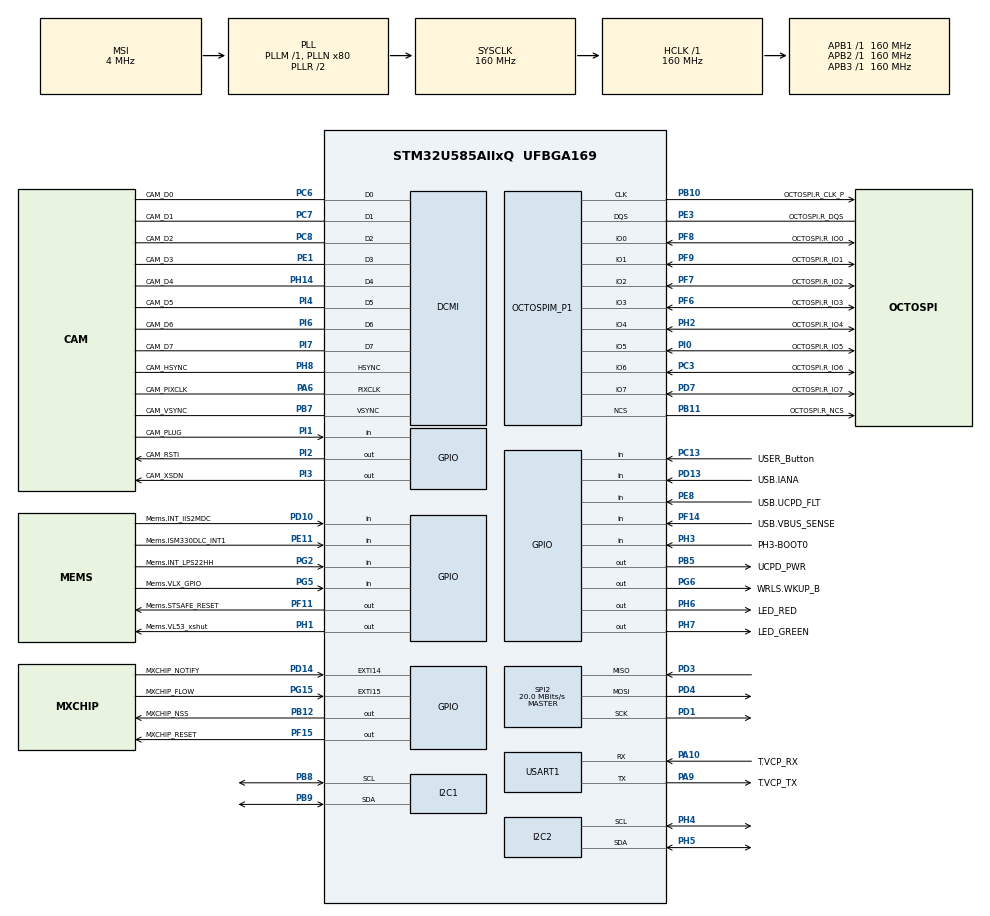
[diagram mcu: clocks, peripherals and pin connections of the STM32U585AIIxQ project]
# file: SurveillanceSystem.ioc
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CORTEX_M33_NS.userName=CORTEX_M33
DCMI.CaptureRate=DCMI_CR_ALL_FRAME
DCMI.HSPolarity=DCMI_HSPOLARITY_HIGH
DCMI.JPEGMode=DCMI_JPEG_DISABLE
DCMI.PCKPolarity=DCMI_PCKPOLARITY_RISING
DCMI.VSPolarity=DCMI_VSPOLARITY_HIGH
GPDMA1.ChannelPRIV_GPDMACH12=DMA_CHANNEL_PRIV
GPDMA1.ChannelPRIV_GPDMACH6=DMA_CHANNEL_PRIV
GPDMA1.ChannelPRIV_GPDMACH7=DMA_CHANNEL_PRIV
GPDMA1.LINKALLOCATEDPORT_GPDMACH12=DMA_LINK_ALLOCATED_PORT1
GPDMA1.LINKALLOCATEDPORT_GPDMACH6=DMA_LINK_ALLOCATED_PORT1
GPDMA1.LINKALLOCATEDPORT_GPDMACH7=DMA_LINK_ALLOCATED_PORT1
GPDMA1.LINKEDLISTMODE_GPDMACH12=DMA_LINKEDLIST_CIRCULAR
GPDMA1.PRIORITY_LL_GPDMACH6=DMA_LOW_PRIORITY_HIGH_WEIGHT
GPDMA1.PRIORITY_LL_GPDMACH7=DMA_LOW_PRIORITY_HIGH_WEIGHT
I2C1.Timing=0x30909DEC
I2C2.Timing=0x30909DEC
Linkedlist.MDMA_Channel0.GP_SW.0.ADDRESSING2D=DISABLE
Linkedlist.MDMA_Channel0.GP_SW.0.BlkHWRequest=DMA_BREQ_SINGLE_BURST
Linkedlist.MDMA_Channel0.GP_SW.0.DataHandling=NONE
Linkedlist.MDMA_Channel0.GP_SW.0.DataSize=0
Linkedlist.MDMA_Channel0.GP_SW.0.DestBurstLength=1
Linkedlist.MDMA_Channel0.GP_SW.0.DestDataWidth=DMA_DEST_DATAWIDTH_WORD
Linkedlist.MDMA_Channel0.GP_SW.0.DestInc=DMA_DINC_INCREMENTED
Linkedlist.MDMA_Channel0.GP_SW.0.Direction=DMA_PERIPH_TO_MEMORY
Linkedlist.MDMA_Channel0.GP_SW.0.DstAddress=0
Linkedlist.MDMA_Channel0.GP_SW.0.Instance=MDMA_Channel0
Linkedlist.MDMA_Channel0.GP_SW.0.LL_CIRCULARNODE=DCMItoMemory
Linkedlist.MDMA_Channel0.GP_SW.0.LL_MASTERDMA=GPDMA2D
Linkedlist.MDMA_Channel0.GP_SW.0.LL_NAME=ProjectDMAQueue
Linkedlist.MDMA_Channel0.GP_SW.0.LL_TYPE=CIRCULAR
Linkedlist.MDMA_Channel0.GP_SW.0.NODE_NAME=DCMItoMemory
Linkedlist.MDMA_Channel0.GP_SW.0.Requestforcodegen=GPDMA1_REQUEST_DCMI
Linkedlist.MDMA_Channel0.GP_SW.0.SrcAddress=0
Linkedlist.MDMA_Channel0.GP_SW.0.SrcBurstLength=1
Linkedlist.MDMA_Channel0.GP_SW.0.SrcDataWidth=DMA_SRC_DATAWIDTH_WORD
Linkedlist.MDMA_Channel0.GP_SW.0.SrcInc=DMA_SINC_FIXED
Linkedlist.MDMA_Channel0.GP_SW.0.TransferAllocatedPortSrc=DMA_SRC_ALLOCATED_PORT0
Linkedlist.MDMA_Channel0.GP_SW.0.TransferEventMode=DMA_TCEM_BLOCK_TRANSFER
Linkedlist.MDMA_Channel0.GP_SW.0.TriggerPolarity=DMA_TRIG_POLARITY_MASKED
Linkedlist.MDMA_Channel0.Request0=GP_SW
Linkedlist.MDMA_Channel0.RequestsNb=1
Linkedlist.MDMA_Channel1.GP_SW.0.BlkHWRequest=DMA_BREQ_SINGLE_BURST
Linkedlist.MDMA_Channel1.GP_SW.0.DataAlignment=DMA_DATA_RIGHTALIGN_ZEROPADDED
Linkedlist.MDMA_Channel1.GP_SW.0.DataExchange=DMA_EXCHANGE_NONE
Linkedlist.MDMA_Channel1.GP_SW.0.DataHandling=ENABLE
Linkedlist.MDMA_Channel1.GP_SW.0.DataSize=0
Linkedlist.MDMA_Channel1.GP_SW.0.DestBurstLength=1
Linkedlist.MDMA_Channel1.GP_SW.0.DestDataWidth=DMA_DEST_DATAWIDTH_BYTE
Linkedlist.MDMA_Channel1.GP_SW.0.DestInc=DMA_DINC_INCREMENTED
Linkedlist.MDMA_Channel1.GP_SW.0.Direction=DMA_PERIPH_TO_MEMORY
Linkedlist.MDMA_Channel1.GP_SW.0.DstAddress=0
Linkedlist.MDMA_Channel1.GP_SW.0.Instance=MDMA_Channel1
Linkedlist.MDMA_Channel1.GP_SW.0.LL_MASTERDMA=GPDMA
Linkedlist.MDMA_Channel1.GP_SW.0.LL_NAME=SPI_Rx_Queue
Linkedlist.MDMA_Channel1.GP_SW.0.LL_TYPE=LINEAR
Linkedlist.MDMA_Channel1.GP_SW.0.NODE_NAME=SPI_Rx_Node
Linkedlist.MDMA_Channel1.GP_SW.0.Requestforcodegen=GPDMA1_REQUEST_SPI2_RX
Linkedlist.MDMA_Channel1.GP_SW.0.SrcAddress=0
Linkedlist.MDMA_Channel1.GP_SW.0.SrcBurstLength=1
Linkedlist.MDMA_Channel1.GP_SW.0.SrcDataWidth=DMA_SRC_DATAWIDTH_BYTE
Linkedlist.MDMA_Channel1.GP_SW.0.SrcInc=DMA_SINC_FIXED
Linkedlist.MDMA_Channel1.GP_SW.0.TransferAllocatedPortSrc=DMA_SRC_ALLOCATED_PORT0
Linkedlist.MDMA_Channel1.GP_SW.0.TransferEventMode=DMA_TCEM_BLOCK_TRANSFER
Linkedlist.MDMA_Channel1.GP_SW.0.TriggerPolarity=DMA_TRIG_POLARITY_MASKED
Linkedlist.MDMA_Channel1.Request0=GP_SW
Linkedlist.MDMA_Channel1.RequestsNb=1
Linkedlist.MDMA_Channel2.GP_SW.0.BlkHWRequest=DMA_BREQ_SINGLE_BURST
Linkedlist.MDMA_Channel2.GP_SW.0.DataAlignment=DMA_DATA_RIGHTALIGN_ZEROPADDED
Linkedlist.MDMA_Channel2.GP_SW.0.DataExchange=DMA_EXCHANGE_NONE
Linkedlist.MDMA_Channel2.GP_SW.0.DataHandling=ENABLE
Linkedlist.MDMA_Channel2.GP_SW.0.DataSize=0
Linkedlist.MDMA_Channel2.GP_SW.0.DestBurstLength=1
Linkedlist.MDMA_Channel2.GP_SW.0.DestDataWidth=DMA_DEST_DATAWIDTH_BYTE
Linkedlist.MDMA_Channel2.GP_SW.0.DestInc=DMA_DINC_FIXED
Linkedlist.MDMA_Channel2.GP_SW.0.Direction=DMA_MEMORY_TO_PERIPH
Linkedlist.MDMA_Channel2.GP_SW.0.DstAddress=0
Linkedlist.MDMA_Channel2.GP_SW.0.Instance=MDMA_Channel2
Linkedlist.MDMA_Channel2.GP_SW.0.LL_MASTERDMA=GPDMA
Linkedlist.MDMA_Channel2.GP_SW.0.LL_NAME=SPI_Tx_Queue
Linkedlist.MDMA_Channel2.GP_SW.0.LL_TYPE=LINEAR
Linkedlist.MDMA_Channel2.GP_SW.0.NODE_NAME=SPI_Tx_Node
Linkedlist.MDMA_Channel2.GP_SW.0.Requestforcodegen=GPDMA1_REQUEST_SPI2_TX
Linkedlist.MDMA_Channel2.GP_SW.0.SrcAddress=0
Linkedlist.MDMA_Channel2.GP_SW.0.SrcBurstLength=1
Linkedlist.MDMA_Channel2.GP_SW.0.SrcDataWidth=DMA_SRC_DATAWIDTH_BYTE
Linkedlist.MDMA_Channel2.GP_SW.0.SrcInc=DMA_SINC_INCREMENTED
Linkedlist.MDMA_Channel2.GP_SW.0.TransferAllocatedPortSrc=DMA_SRC_ALLOCATED_PORT1
Linkedlist.MDMA_Channel2.GP_SW.0.TransferEventMode=DMA_TCEM_BLOCK_TRANSFER
Linkedlist.MDMA_Channel2.GP_SW.0.TriggerPolarity=DMA_TRIG_POLARITY_MASKED
Linkedlist.MDMA_Channel2.Request0=GP_SW
Linkedlist.MDMA_Channel2.RequestsNb=1
Linkedlist.RequestSet0=MDMA_Channel0
Linkedlist.RequestSet1=MDMA_Channel1
Linkedlist.RequestSet2=MDMA_Channel2
Linkedlist.RequestSetsNb=3
Mcu.Family=STM32U5
Mcu.Name=STM32U585AIIxQ
Mcu.Package=UFBGA169
Mcu.UserConstants=PRES_THREAD_STACK_SIZE,1024;SNTP_STACK_SIZE,(6 * 1024);CAPFRAME_THREAD_STACK_SIZE,1024;LED_STACK_SIZE,1024;TOTAL_APP_STACK_SIZE,TIMEBASE_STACK_SIZE + LED_STACK_SIZE*2 + TEMP_THREAD_STACK_SIZE + HUM_THREAD_STACK_SIZE + MAG_THREAD_STACK_SIZE + LIGHT_THREAD_STACK_SIZE + PRES_THREAD_STACK_SIZE + MOT_THREAD_STACK_SIZE + CAPFRAME_THREAD_STACK_SIZE + SENDFRAME_THREAD_STACK_SIZE + SNTP_STACK_SIZE + MQTT_STACK_SIZE + QUEUE_STACK_SIZE;TIMEBASE_STACK_SIZE,1024;LIGHT_THREAD_STACK_SIZE,1024;MAG_THREAD_STACK_SIZE,1024;MOT_THREAD_STACK_SIZE,1024;MQTT_STACK_SIZE,(4 * 1024);MQTT_CLIENT_STACK_SIZE,(1024 * 10);HUM_THREAD_STACK_SIZE,1024;MXCHIP_SPI,hspi2;SENDFRAME_THREAD_STACK_SIZE,1024;TEMP_THREAD_STACK_SIZE,1024;QUEUE_STACK_SIZE,1024
NETXDUO.NXD_MQTT_REQUIRE_TLS=true
NETXDUO.NX_APP_MEM_POOL_SIZE=1024*100
NETXDUO.NX_DISABLE_ERROR_CHECKING=false
NETXDUO.NX_DRIVER_DEFERRED_PROCESSING=true
NETXDUO.NX_PHYSICAL_HEADER=44
NETXDUO.NX_PHYSICAL_TRAILER=4
NETXDUO.NX_SECURE_ENABLE=true
NETXDUO.NX_SECURE_ENABLE_ECC_CIPHERSUITE=true
NETXDUO.NX_SNTP_CLIENT_MAX_ROOT_DISPERSION=500000
NETXDUO.NX_SNTP_CLIENT_MIN_SERVER_STRATUM=5
NVIC.DCACHE1_IRQn=true\:6\:0\:true\:false\:true\:false\:true\:true\:true
NVIC.DCMI_PSSI_IRQn=true\:12\:0\:true\:false\:true\:false\:true\:true\:true
NVIC.EXTI14_IRQn=true\:10\:0\:true\:false\:true\:false\:true\:true\:true
NVIC.EXTI15_IRQn=true\:10\:0\:true\:false\:true\:false\:true\:true\:true
NVIC.GPDMA1_Channel12_IRQn=true\:12\:0\:true\:false\:true\:false\:true\:true\:true
NVIC.GPDMA1_Channel6_IRQn=true\:9\:0\:true\:false\:true\:false\:true\:true\:true
NVIC.GPDMA1_Channel7_IRQn=true\:9\:0\:true\:false\:true\:false\:true\:true\:true
NVIC.PriorityGroup=NVIC_PRIORITYGROUP_4
NVIC.SPI2_IRQn=true\:8\:0\:true\:false\:true\:false\:true\:true\:true
NVIC.TIM6_IRQn=true\:7\:0\:true\:false\:true\:false\:false\:true\:true
NVIC.TIM7_IRQn=true\:8\:0\:true\:false\:true\:false\:true\:true\:true
NVIC.TimeBase=TIM6_IRQn
NVIC.TimeBaseIP=TIM6
OCTOSPI1.ChipSelectBoundary=10
OCTOSPI1.ChipSelectHighTime=2
OCTOSPI1.ClockPrescaler=2
OCTOSPI1.DelayBlockBypass=HAL_OSPI_DELAY_BLOCK_USED
OCTOSPI1.DelayHoldQuarterCycle=HAL_OSPI_DHQC_ENABLE
OCTOSPI1.DeviceSize=23
OCTOSPI1.MemoryType=HAL_OSPI_MEMTYPE_APMEMORY
OCTOSPI1.Refresh=320
PA10.GPIO_Label=T.VCP_RX
PA10.Mode=Asynchronous
PA10.Signal=USART1_RX
PA11.GPIO_Label=USB.C_P
PA11.Signal=USB_OTG_FS_DM
PA12.GPIO_Label=USB.C_P
PA12.Signal=USB_OTG_FS_DP
PA13\ (JTMS/SWDIO).GPIO_Label=T.SWDIO
PA13\ (JTMS/SWDIO).Signal=DEBUG_JTMS-SWDIO
PA14\ (JTCK/SWCLK).GPIO_Label=T.SWCLK
PA14\ (JTCK/SWCLK).Signal=DEBUG_JTCK-SWCLK
PA15\ (JTDI).GPIO_Label=USB.UCPD_CC1
PA15\ (JTDI).Signal=UCPD1_CC1
PA6.GPIO_Label=CAM_PIXCLK
PA6.GPIO_Speed=GPIO_SPEED_FREQ_VERY_HIGH
PA6.Mode=Slave_8_bits_External_Synchro
PA6.Signal=DCMI_PIXCLK
PA9.GPIO_Label=T.VCP_TX
PA9.Mode=Asynchronous
PA9.Signal=USART1_TX
PB1.GPIO_Label=MIC.SDIN0
PB1.Signal=MDF1_SDI0
PB10.GPIO_Label=OCTOSPI.R_CLK_P
PB10.Mode=O1_P1_CLK
PB10.Signal=OCTOSPIM_P1_CLK
PB11.GPIO_Label=OCTOSPI.R_NCS
PB11.Mode=OCTOSPI1_Port1_NCS
PB11.Signal=OCTOSPIM_P1_NCS
PB12.GPIO_Label=MXCHIP_NSS
PB12.GPIO_Speed=GPIO_SPEED_FREQ_HIGH
PB12.PinState=GPIO_PIN_SET
PB12.Signal=GPIO_Output
PB15.GPIO_Label=USB.UCPD_CC2
PB15.Signal=UCPD1_CC2
PB3\ (JTDO/TRACESWO).GPIO_Label=T.SWO
PB3\ (JTDO/TRACESWO).Signal=DEBUG_JTDO-SWO
PB5.GPIO_Label=UCPD_PWR
PB5.Signal=GPIO_Output
PB7.GPIO_Label=CAM_VSYNC
PB7.GPIO_Speed=GPIO_SPEED_FREQ_VERY_HIGH
PB7.Mode=Slave_8_bits_External_Synchro
PB7.Signal=DCMI_VSYNC
PB8.Mode=I2C
PB8.Signal=I2C1_SCL
PB9.Mode=I2C
PB9.Signal=I2C1_SDA
PC10.GPIO_Label=WRLS.UART4_TX
PC10.Signal=UART4_TX
PC11.GPIO_Label=WRLS.UART4_RX
PC11.Signal=UART4_RX
PC13.GPIO_Label=USER_Button
PC13.Signal=GPIO_Input
PC14-OSC32_IN\ (PC14).GPIO_Label=PC14-OSC32_IN
PC14-OSC32_IN\ (PC14).Signal=RCC_OSC32_IN
PC15-OSC32_OUT\ (PC15).GPIO_Label=PC15-OSC32_OUT
PC15-OSC32_OUT\ (PC15).Signal=RCC_OSC32_OUT
PC3.GPIO_Label=OCTOSPI.R_IO6
PC3.Mode=OCTOSPI1_IOH_Port1H
PC3.Signal=OCTOSPIM_P1_IO6
PC6.GPIO_Label=CAM_D0
PC6.GPIO_Speed=GPIO_SPEED_FREQ_VERY_HIGH
PC6.Mode=Slave_8_bits_External_Synchro
PC6.Signal=DCMI_D0
PC7.GPIO_Label=CAM_D1
PC7.GPIO_Speed=GPIO_SPEED_FREQ_VERY_HIGH
PC7.Mode=Slave_8_bits_External_Synchro
PC7.Signal=DCMI_D1
PC8.GPIO_Label=CAM_D2
PC8.GPIO_Speed=GPIO_SPEED_FREQ_VERY_HIGH
PC8.Mode=Slave_8_bits_External_Synchro
PC8.Signal=DCMI_D2
PD1.Mode=Full_Duplex_Master
PD1.Signal=SPI2_SCK
PD10.GPIO_Label=Mems.INT_IIS2MDC
PD10.Signal=GPIO_Input
PD13.GPIO_Label=USB.IANA
PD13.Signal=GPIO_Input
PD14.GPIO_Label=MXCHIP_NOTIFY
PD14.Signal=GPXTI14
PD3.Mode=Full_Duplex_Master
PD3.Signal=SPI2_MISO
PD4.Mode=Full_Duplex_Master
PD4.Signal=SPI2_MOSI
PD7.GPIO_Label=OCTOSPI.R_IO7
PD7.Mode=OCTOSPI1_IOH_Port1H
PD7.Signal=OCTOSPIM_P1_IO7
PE1.GPIO_Label=CAM_D3
PE1.GPIO_Speed=GPIO_SPEED_FREQ_VERY_HIGH
PE1.Mode=Slave_8_bits_External_Synchro
PE1.Signal=DCMI_D3
PE10.GPIO_Label=MIC.SDINx
PE10.Signal=ADF1_SDI0
PE11.GPIO_Label=Mems.ISM330DLC_INT1
PE11.Signal=GPIO_Input
PE3.GPIO_Label=OCTOSPI.R_DQS
PE3.Mode=OCTOSPI1_Port1_DQS
PE3.Signal=OCTOSPIM_P1_DQS
PE8.GPIO_Label=USB.UCPD_FLT
PE8.Signal=GPIO_Input
PE9.GPIO_Label=MIC.CCK0
PE9.Signal=ADF1_CCK0
PF0.GPIO_Label=OCTOSPI.F_IO0
PF0.Signal=OCTOSPIM_P2_IO0
PF1.GPIO_Label=OCTOSPI.F_IO1
PF1.Signal=OCTOSPIM_P2_IO1
PF10.GPIO_Label=MIC.CCK1
PF10.Signal=MDF1_CCK1
PF11.GPIO_Label=Mems.STSAFE_RESET
PF11.Signal=GPIO_Output
PF12.GPIO_Label=OCTOSPI.F_DQS
PF12.Signal=OCTOSPIM_P2_DQS
PF14.GPIO_Label=USB.VBUS_SENSE
PF14.Signal=GPIO_Input
PF15.GPIO_Label=MXCHIP_RESET
PF15.GPIO_Speed=GPIO_SPEED_FREQ_HIGH
PF15.Signal=GPIO_Output
PF2.GPIO_Label=OCTOSPI.F_IO2
PF2.Signal=OCTOSPIM_P2_IO2
PF3.GPIO_Label=OCTOSPI.F_IO3
PF3.Signal=OCTOSPIM_P2_IO3
PF4.GPIO_Label=OCTOSPI.F_CLK_P
PF4.Signal=OCTOSPIM_P2_CLK
PF6.GPIO_Label=OCTOSPI.R_IO3
PF6.Mode=OCTOSPI1_IOL_Port1L
PF6.Signal=OCTOSPIM_P1_IO3
PF7.GPIO_Label=OCTOSPI.R_IO2
PF7.Mode=OCTOSPI1_IOL_Port1L
PF7.Signal=OCTOSPIM_P1_IO2
PF8.GPIO_Label=OCTOSPI.R_IO0
PF8.Mode=OCTOSPI1_IOL_Port1L
PF8.Signal=OCTOSPIM_P1_IO0
PF9.GPIO_Label=OCTOSPI.R_IO1
PF9.Mode=OCTOSPI1_IOL_Port1L
PF9.Signal=OCTOSPIM_P1_IO1
PG15.GPIO_Label=MXCHIP_FLOW
PG15.Signal=GPXTI15
PG2.GPIO_Label=Mems.INT_LPS22HH
PG2.Signal=GPIO_Input
PG5.GPIO_Label=Mems.VLX_GPIO
PG5.Signal=GPIO_Input
PG6.GPIO_Label=WRLS.WKUP_B
PG6.Signal=GPIO_Output
PH1-OSC_OUT\ (PH1).GPIO_Label=Mems.VL53_xshut
PH1-OSC_OUT\ (PH1).Signal=GPIO_Output
PH10.GPIO_Label=OCTOSPI.F_IO5
PH10.Signal=OCTOSPIM_P2_IO5
PH11.GPIO_Label=OCTOSPI.F_IO6
PH11.Signal=OCTOSPIM_P2_IO6
PH12.GPIO_Label=OCTOSPI.F_IO7
PH12.Signal=OCTOSPIM_P2_IO7
PH14.GPIO_Label=CAM_D4
PH14.GPIO_Speed=GPIO_SPEED_FREQ_VERY_HIGH
PH14.Mode=Slave_8_bits_External_Synchro
PH14.Signal=DCMI_D4
PH2.GPIO_Label=OCTOSPI.R_IO4
PH2.Mode=OCTOSPI1_IOH_Port1H
PH2.Signal=OCTOSPIM_P1_IO4
PH3-BOOT0.GPIO_Label=PH3-BOOT0
PH3-BOOT0.Signal=GPIO_Input
PH4.Mode=I2C
PH4.Signal=I2C2_SCL
PH5.Mode=I2C
PH5.Signal=I2C2_SDA
PH6.GPIO_Label=LED_RED
PH6.Signal=GPIO_Output
PH7.GPIO_Label=LED_GREEN
PH7.Signal=GPIO_Output
PH8.GPIO_Label=CAM_HSYNC
PH8.GPIO_Speed=GPIO_SPEED_FREQ_VERY_HIGH
PH8.Mode=Slave_8_bits_External_Synchro
PH8.Signal=DCMI_HSYNC
PH9.GPIO_Label=OCTOSPI.F_IO4
PH9.Signal=OCTOSPIM_P2_IO4
PI0.GPIO_Label=OCTOSPI.R_IO5
PI0.Mode=OCTOSPI1_IOH_Port1H
PI0.Signal=OCTOSPIM_P1_IO5
PI1.GPIO_Label=CAM_PLUG
PI1.GPIO_PuPd=GPIO_PULLUP
PI1.Signal=GPIO_Input
PI2.GPIO_Label=CAM_RSTI
PI2.GPIO_PuPd=GPIO_PULLUP
PI2.PinState=GPIO_PIN_SET
PI2.Signal=GPIO_Output
PI3.GPIO_Label=CAM_XSDN
PI3.GPIO_PuPd=GPIO_PULLDOWN
PI3.Signal=GPIO_Output
PI4.GPIO_Label=CAM_D5
PI4.GPIO_Speed=GPIO_SPEED_FREQ_VERY_HIGH
PI4.Mode=Slave_8_bits_External_Synchro
PI4.Signal=DCMI_D5
PI5.GPIO_Label=OCTOSPI.F_NCS
PI5.Signal=OCTOSPIM_P2_NCS
PI6.GPIO_Label=CAM_D6
PI6.GPIO_Speed=GPIO_SPEED_FREQ_VERY_HIGH
PI6.Mode=Slave_8_bits_External_Synchro
PI6.Signal=DCMI_D6
PI7.GPIO_Label=CAM_D7
PI7.GPIO_Speed=GPIO_SPEED_FREQ_VERY_HIGH
PI7.Mode=Slave_8_bits_External_Synchro
PI7.Signal=DCMI_D7
PWR.PowerMode=PWR_SMPS_SUPPLY
ProjectManager.HeapSize=0x200
ProjectManager.StackSize=0x400
ProjectManager.TargetToolchain=STM32CubeIDE
RCC.ADCFreq_Value=16000000
RCC.AHBFreq_Value=160000000
RCC.APB1Freq_Value=160000000
RCC.APB1TimFreq_Value=160000000
RCC.APB2Freq_Value=160000000
RCC.APB2TimFreq_Value=160000000
RCC.APB3Freq_Value=160000000
RCC.CortexFreq_Value=160000000
RCC.DACCLockSelectionVirtual=RCC_DAC1CLKSOURCE_LSI
RCC.DACCLockSelectionVirtualString=RCC_DAC1CLKSOURCE_LSI
RCC.EPOD_VALUE=4000000
RCC.HCLKFreq_Value=160000000
RCC.HSE_VALUE=16000000
RCC.HSI48_VALUE=48000000
RCC.HSI_VALUE=16000000
RCC.LSE_VALUE=32768
RCC.LSIDIV_VALUE=32000
RCC.MSI_VALUE=4000000
RCC.PLLN=80
RCC.SYSCLKFreq_VALUE=160000000
RCC.SYSCLKSource=RCC_SYSCLKSOURCE_PLLCLK
RCC.USBFreq_Value=48000000
RCC.VCOOutputFreq_Value=320000000
SPI2.BaudRatePrescaler=SPI_BAUDRATEPRESCALER_8
SPI2.CalculateBaudRate=20.0 MBits/s
SPI2.DataSize=SPI_DATASIZE_8BIT
SPI2.Direction=SPI_DIRECTION_2LINES
SPI2.Mode=SPI_MODE_MASTER
SPI2.VirtualType=VM_MASTER
THREADX.TX_APP_MEM_POOL_SIZE=TOTAL_APP_STACK_SIZE
THREADX.TX_DISABLE_NOTIFY_CALLBACKS=0
TIM7.PeriodNoDither=51
TIM7.Prescaler=59170
USART1.VirtualMode-Asynchronous=VM_ASYNC
VP_CORDIC_VS_CORDIC.Mode=CORDIC_Activate
VP_DCACHE1_VS_DCACHE.Mode=DCACHE_Activate
VP_GPDMA1_VS_GPDMACH12.Mode=LINKEDLIST_GPDMACH12
VP_GPDMA1_VS_GPDMACH6.Mode=LINKEDLIST_GPDMACH6
VP_GPDMA1_VS_GPDMACH7.Mode=LINKEDLIST_GPDMACH7
VP_ICACHE_VS_ICACHE.Mode=DefaultMode
VP_LPBAMQUEUE_VS_QUEUE.Mode=QUEUEMODE
VP_LPBAM_VS_SIG1.Mode=SmartRun
VP_LPBAM_VS_SIG4.Mode=LPDMA1
VP_NETXDUO_VS_AddonsOoDHCP.Mode=Addons_DHCP_Client
VP_NETXDUO_VS_AddonsOoDNS.Mode=Addons_DNS
VP_NETXDUO_VS_AddonsOoMQTT.Mode=Addons_MQTT
VP_NETXDUO_VS_AddonsOoSNTP.Mode=Addons_SNTP
VP_NETXDUO_VS_Crypto.Mode=Crypto
VP_NETXDUO_VS_CustomOoInterface.Mode=Custom_Interface
VP_NETXDUO_VS_NXOoCore.Mode=NX_Core
VP_NETXDUO_VS_TLS.Mode=TLS
VP_OCTOSPI1_VS_octo.Mode=octo_mode
VP_PWR_VS_LPOM.Mode=PowerOptimisation
VP_PWR_VS_SECSignals.Mode=Security/Privilege
VP_SYS_VS_tim6.Mode=TIM6
VP_THREADX_VS_RTOSJjThreadXJjCoreJjDefault.Mode=Core_Default
VP_TIM7_VS_ClockSourceINT.Mode=Enable_Timer
board=B-U585I-IOT02A

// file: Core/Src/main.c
/* USER CODE BEGIN Header */
/**
  ******************************************************************************
  * @file           : main.c
  * @brief          : Main program body
  ******************************************************************************
  * @attention
  *
  * Copyright (c) 2022 STMicroelectronics.
  * All rights reserved.
  *
  * This software is licensed under terms that can be found in the LICENSE file
  * in the root directory of this software component.
  * If no LICENSE file comes with this software, it is provided AS-IS.
  *
  ******************************************************************************
  */
/* USER CODE END Header */
#include "main.h"
#include "app_threadx.h"
#include "cordic.h"
#include "dcache.h"
#include "dcmi.h"
#include "gpdma.h"
#include "i2c.h"
#include "icache.h"
#include "octospi.h"
#include "spi.h"
#include "tim.h"
#include "usart.h"
#include "gpio.h"

/* USER CODE BEGIN Includes */
#include "./BoardSupportPackage/BSP_ram.h"
#include "./BoardSupportPackage/BSP_camera.h"
#include "./BoardSupportPackage/BSP_environment.h"
#include "./BoardSupportPackage/BSP_motion.h"
#include "./BoardSupportPackage/BSP_LED.h"
#include <stdio.h>
/* USER CODE END Includes */

void SystemClock_Config(void);
static void SystemPower_Config(void);

int main(void)
{

  /* MCU Configuration--------------------------------------------------------*/

  /* Reset of all peripherals, Initializes the Flash interface and the Systick. */
  HAL_Init();

  /* Configure the system clock */
  SystemClock_Config();

  /* Configure the System Power */
  SystemPower_Config();

  /* USER CODE BEGIN SysInit */
  __HAL_RCC_PWR_CLK_ENABLE();
  HAL_PWREx_EnableVddA();
  /* USER CODE END SysInit */

  /* Initialize all configured peripherals */
  MX_GPIO_Init();
  MX_DCMI_Init();
  MX_GPDMA1_Init();
  MX_OCTOSPI1_Init();
  MX_ICACHE_Init();
  MX_DCACHE1_Init();
  MX_I2C1_Init();
  MX_I2C2_Init();
  MX_CORDIC_Init();
  MX_USART1_UART_Init();
  MX_TIM7_Init();
  MX_SPI2_Init();
  /* USER CODE BEGIN 2 */
  printf("\r\nSystem Starting\r\n");
  BSP_TempHumSensorInit();
  BSP_MagnetometerInit();
  BSP_MotionSensorInit();
  BSP_PressureSensorInit();
  BSP_AmbientLightInit();
  BSP_RamInit();
  BSP_CameraInit();
  printf("System Initialized\r\n");
  /* USER CODE END 2 */

  MX_ThreadX_Init();

  /* We should never get here as control is now taken by the scheduler */
  /* Infinite loop */
  while (1)
  {

  }
}

void SystemClock_Config(void)
{
  RCC_OscInitTypeDef RCC_OscInitStruct = {0};
  RCC_ClkInitTypeDef RCC_ClkInitStruct = {0};

  /** Configure the main internal regulator output voltage
  */
  if (HAL_PWREx_ControlVoltageScaling(PWR_REGULATOR_VOLTAGE_SCALE1) != HAL_OK)
  {
    Error_Handler();
  }

  /** Initializes the CPU, AHB and APB buses clocks
  */
  RCC_OscInitStruct.OscillatorType = RCC_OSCILLATORTYPE_MSI;
  RCC_OscInitStruct.MSIState = RCC_MSI_ON;
  RCC_OscInitStruct.MSICalibrationValue = RCC_MSICALIBRATION_DEFAULT;
  RCC_OscInitStruct.MSIClockRange = RCC_MSIRANGE_4;
  RCC_OscInitStruct.PLL.PLLState = RCC_PLL_ON;
  RCC_OscInitStruct.PLL.PLLSource = RCC_PLLSOURCE_MSI;
  RCC_OscInitStruct.PLL.PLLMBOOST = RCC_PLLMBOOST_DIV1;
  RCC_OscInitStruct.PLL.PLLM = 1;
  RCC_OscInitStruct.PLL.PLLN = 80;
  RCC_OscInitStruct.PLL.PLLP = 2;
  RCC_OscInitStruct.PLL.PLLQ = 2;
  RCC_OscInitStruct.PLL.PLLR = 2;
  RCC_OscInitStruct.PLL.PLLRGE = RCC_PLLVCIRANGE_0;
  RCC_OscInitStruct.PLL.PLLFRACN = 0;
  if (HAL_RCC_OscConfig(&RCC_OscInitStruct) != HAL_OK)
  {
    Error_Handler();
  }

  /** Initializes the CPU, AHB and APB buses clocks
  */
  RCC_ClkInitStruct.ClockType = RCC_CLOCKTYPE_HCLK|RCC_CLOCKTYPE_SYSCLK
                              |RCC_CLOCKTYPE_PCLK1|RCC_CLOCKTYPE_PCLK2
                              |RCC_CLOCKTYPE_PCLK3;
  RCC_ClkInitStruct.SYSCLKSource = RCC_SYSCLKSOURCE_PLLCLK;
  RCC_ClkInitStruct.AHBCLKDivider = RCC_SYSCLK_DIV1;
  RCC_ClkInitStruct.APB1CLKDivider = RCC_HCLK_DIV1;
  RCC_ClkInitStruct.APB2CLKDivider = RCC_HCLK_DIV1;
  RCC_ClkInitStruct.APB3CLKDivider = RCC_HCLK_DIV1;

  if (HAL_RCC_ClockConfig(&RCC_ClkInitStruct, FLASH_LATENCY_4) != HAL_OK)
  {
    Error_Handler();
  }
}

/**
  * @brief Power Configuration
  * @retval None
  */
static void SystemPower_Config(void)
{
  HAL_PWREx_EnableVddIO2();

  /*
   * Switch to SMPS regulator instead of LDO
   */
  if (HAL_PWREx_ConfigSupply(PWR_SMPS_SUPPLY) != HAL_OK)
  {
    Error_Handler();
  }
}

/* USER CODE BEGIN 4 */
int __io_putchar(int ch)
{
  /* Place your implementation of fputc here */
  /* e.g. write a character to the USART1 and Loop until the end of transmission */
  HAL_UART_Transmit(&huart1, (uint8_t *)&ch, 1, 0xFFFF);
  return ch;
}
/* USER CODE END 4 */

void HAL_TIM_PeriodElapsedCallback(TIM_HandleTypeDef *htim)
{
  if (htim->Instance == TIM6) {
    HAL_IncTick();
  }
}

void Error_Handler(void)
{
  __disable_irq();
  while (1)
  {
  }
}
